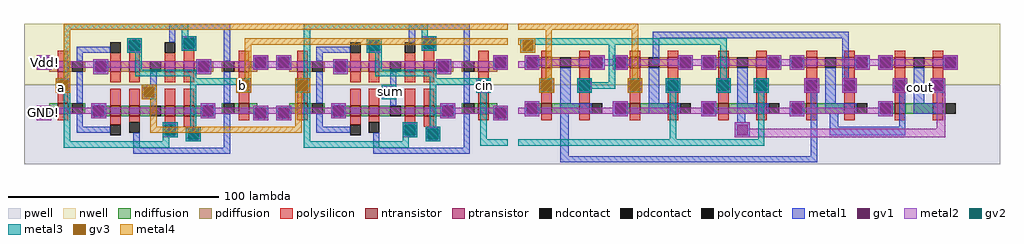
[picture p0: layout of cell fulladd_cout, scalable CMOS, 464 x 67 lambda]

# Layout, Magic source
magic
tech scmos
<< nwell >>
rect 232 54 461 65
rect 232 51 240 54
rect 232 38 235 51
rect 268 36 461 54
<< pwell >>
rect 267 25 368 36
rect 380 25 384 26
rect 400 25 461 36
rect 267 22 461 25
rect 234 21 461 22
rect 226 3 227 21
rect 232 3 461 21
rect 226 -2 461 3
<< metal1 >>
rect 296 58 389 61
rect 296 46 299 58
rect 252 22 257 29
rect 252 2 256 22
rect 336 18 340 26
rect 335 11 342 18
rect 371 2 374 37
rect 386 36 389 58
rect 380 16 384 26
rect 413 16 416 35
rect 421 32 425 37
rect 380 12 416 16
rect 252 -1 374 2
<< metal2 >>
rect 4 44 10 49
rect 102 44 126 47
rect 220 44 227 47
rect 232 44 235 47
rect 263 45 288 48
rect 304 45 329 48
rect 348 45 371 48
rect 389 45 412 48
rect 169 30 173 35
rect 242 32 249 39
rect 284 32 291 39
rect 326 32 333 39
rect 344 32 351 39
rect 4 20 9 25
rect 105 22 129 25
rect 220 22 227 25
rect 232 22 409 25
rect 335 15 342 18
rect 431 15 435 37
rect 335 11 435 15
<< gv1 >>
rect 336 12 341 17
<< metal3 >>
rect 233 55 331 58
rect 233 51 240 55
rect 13 33 18 38
rect 53 29 60 36
rect 99 33 104 38
rect 126 32 133 39
rect 213 33 218 38
rect 214 10 217 33
rect 242 32 249 39
rect 260 37 267 39
rect 275 37 278 55
rect 328 39 331 55
rect 260 34 278 37
rect 260 32 267 34
rect 284 32 291 39
rect 302 32 309 39
rect 326 32 333 39
rect 344 32 351 39
rect 304 10 307 32
rect 346 10 349 32
rect 214 7 227 10
rect 232 7 349 10
<< gv2 >>
rect 54 30 59 35
rect 127 33 132 38
rect 243 33 248 38
rect 261 33 266 38
rect 285 33 290 38
rect 303 33 308 38
rect 327 33 332 38
rect 345 33 350 38
<< metal4 >>
rect 16 62 227 65
rect 232 62 289 65
rect 16 39 19 62
rect 102 55 227 58
rect 232 55 240 58
rect 102 39 105 55
rect 233 51 240 55
rect 245 39 248 62
rect 286 39 289 62
rect 12 32 19 39
rect 53 29 60 36
rect 98 32 105 39
rect 126 32 133 39
rect 242 32 249 39
rect 284 32 291 39
rect 57 16 60 29
rect 126 16 129 32
rect 57 13 129 16
<< gv3 >>
rect 234 52 239 57
rect 13 33 18 38
rect 54 30 59 35
rect 99 33 104 38
rect 127 33 132 38
rect 243 33 248 38
rect 285 33 290 38
use nand2  nand2_4
transform 1 0 416 0 1 38
box -19 -22 28 16
use nand2  nand2_3
transform 1 0 374 0 1 38
box -19 -22 28 16
use nand2  nand2_2
transform 1 0 332 0 1 38
box -19 -22 28 16
use nand2  nand2_1
transform 1 0 290 0 1 38
box -19 -22 28 16
use nand2  nand2_0
transform 1 0 248 0 1 38
box -19 -22 28 16
use xor2  xor2_0
transform 1 0 38 0 1 42
box -41 -44 81 23
use xor2  xor2_1
transform 1 0 152 0 1 42
box -41 -44 81 23
<< labels >>
rlabel metal3 14 33 16 36 1 a
rlabel metal3 215 34 217 37 1 cin
rlabel metal2 4 44 10 49 1 Vdd!
rlabel metal2 4 20 9 25 1 GND!
rlabel metal3 100 34 102 37 1 b
rlabel metal1 421 32 425 37 1 cout
rlabel metal2 170 31 172 34 1 sum
<< end >>

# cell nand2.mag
magic
tech scmos
<< nwell >>
rect -20 -2 28 16
<< pwell >>
rect -20 -22 30 -2
<< ntransistor >>
rect -5 -16 0 -11
rect 13 -16 18 -11
<< ptransistor >>
rect -5 6 0 11
rect 13 6 18 11
<< ndiffusion >>
rect -7 -16 -5 -11
rect 0 -16 13 -11
rect 18 -16 19 -11
<< pdiffusion >>
rect -7 6 -5 11
rect 0 6 4 11
rect 9 6 13 11
rect 18 6 19 11
<< ndcontact >>
rect -12 -16 -7 -11
rect 19 -16 24 -11
<< pdcontact >>
rect -12 6 -7 11
rect 4 6 9 11
rect 19 6 24 11
<< polysilicon >>
rect -5 11 0 14
rect 13 11 18 14
rect -5 0 0 6
rect -5 -11 0 -5
rect 13 0 18 6
rect 13 -11 18 -5
rect -5 -19 0 -16
rect 13 -19 18 -16
<< polycontact >>
rect -5 -5 0 0
rect 13 -5 18 0
<< metal1 >>
rect -13 11 -6 12
rect 18 11 25 12
rect -13 6 -12 11
rect -7 6 -6 11
rect -13 5 -6 6
rect -6 0 1 1
rect -6 -5 -5 0
rect 0 -5 1 0
rect -6 -6 1 -5
rect -13 -11 -6 -10
rect -13 -16 -12 -11
rect -7 -16 -6 -11
rect 4 -11 9 6
rect 18 6 19 11
rect 24 6 25 11
rect 18 5 25 6
rect 12 0 19 1
rect 12 -5 13 0
rect 18 -5 19 0
rect 12 -6 19 -5
rect 4 -16 19 -11
rect -13 -17 -6 -16
<< metal2 >>
rect -13 10 -6 12
rect 18 10 25 12
rect -13 7 25 10
rect -13 5 -6 7
rect 18 5 25 7
rect -6 -6 1 1
rect 12 -6 19 1
rect -13 -17 -6 -10
<< gv1 >>
rect -12 6 -7 11
rect 19 6 24 11
rect -5 -5 0 0
rect 13 -5 18 0
rect -12 -16 -7 -11
<< labels >>
rlabel pdcontact -10 8 -9 9 1 Vdd!
rlabel polycontact -3 -3 -2 -2 1 a
rlabel gv1 -11 -14 -9 -13 1 GND!
rlabel metal1 6 -3 7 -2 1 out
rlabel polycontact 15 -3 16 -2 1 b
<< end >>

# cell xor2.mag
magic
tech scmos
<< nwell >>
rect -41 -6 81 23
<< pwell >>
rect -41 -42 81 -6
rect -41 -44 76 -42
<< ntransistor >>
rect -25 -20 -20 -15
rect 0 -21 5 -16
rect 9 -21 14 -16
rect 26 -21 31 -16
rect 35 -21 40 -16
rect 61 -20 66 -15
<< ptransistor >>
rect -25 0 -20 5
rect 0 0 5 5
rect 9 0 14 5
rect 26 0 31 5
rect 35 0 40 5
rect 61 0 66 5
<< ndiffusion >>
rect -35 -22 -34 -17
rect -29 -20 -25 -15
rect -20 -20 -18 -15
rect -13 -20 -12 -15
rect -29 -22 -28 -20
rect -9 -21 -8 -16
rect -3 -21 0 -16
rect 5 -21 9 -16
rect 14 -21 19 -16
rect 24 -21 26 -16
rect 31 -21 35 -16
rect 40 -21 44 -16
rect 53 -20 54 -15
rect 59 -20 61 -15
rect 66 -17 70 -15
rect 66 -20 69 -17
rect 68 -22 69 -20
rect 74 -22 75 -17
<< pdiffusion >>
rect -35 2 -34 7
rect -29 5 -28 7
rect 68 5 69 7
rect -29 0 -25 5
rect -20 0 -18 5
rect -13 0 -12 5
rect -8 0 -7 5
rect -2 0 0 5
rect 5 0 9 5
rect 14 0 19 5
rect 24 0 26 5
rect 31 0 35 5
rect 40 0 42 5
rect 47 0 49 5
rect 53 0 54 5
rect 59 0 61 5
rect 66 2 69 5
rect 74 2 75 7
rect 66 0 70 2
<< ndcontact >>
rect -34 -22 -29 -17
rect -18 -20 -13 -15
rect -8 -21 -3 -16
rect 19 -21 24 -16
rect 44 -21 49 -16
rect 54 -20 59 -15
rect 69 -22 74 -17
<< pdcontact >>
rect -34 2 -29 7
rect -18 0 -13 5
rect -7 0 -2 5
rect 19 0 24 5
rect 42 0 47 5
rect 54 0 59 5
rect 69 2 74 7
<< polysilicon >>
rect -25 5 -20 10
rect 0 5 5 9
rect 9 5 14 10
rect 26 5 31 9
rect 35 5 40 11
rect 61 5 66 10
rect -25 -4 -20 0
rect 0 -5 5 0
rect 9 -5 14 0
rect 26 -5 31 0
rect 35 -5 40 0
rect 61 -4 66 0
rect -25 -15 -20 -9
rect 0 -16 5 -8
rect 9 -16 14 -8
rect 26 -16 31 -8
rect 35 -16 40 -8
rect 61 -15 66 -9
rect -25 -23 -20 -20
rect 0 -25 5 -21
rect 9 -24 14 -21
rect 26 -25 31 -21
rect 35 -26 40 -21
rect 61 -23 66 -20
rect 36 -27 42 -26
<< polycontact >>
rect 0 9 5 14
rect 9 10 14 15
rect 26 9 31 14
rect 35 11 40 16
rect -25 -9 -20 -4
rect 61 -9 66 -4
rect 0 -30 5 -25
rect 9 -29 14 -24
rect 26 -30 31 -25
rect 37 -32 42 -27
<< metal1 >>
rect 28 20 57 23
rect 8 15 15 16
rect -16 9 0 12
rect 8 10 9 15
rect 14 10 15 15
rect 28 14 31 20
rect 8 9 15 10
rect 34 16 41 17
rect 34 11 35 16
rect 40 11 41 16
rect 34 10 41 11
rect -35 7 -28 8
rect -35 2 -34 7
rect -29 2 -28 7
rect -16 5 -13 9
rect -35 1 -28 2
rect -26 -4 -19 -3
rect -26 -9 -25 -4
rect -20 -9 -19 -4
rect -26 -10 -19 -9
rect -16 -15 -13 0
rect -8 5 -1 6
rect 41 5 48 6
rect -8 0 -7 5
rect -2 0 -1 5
rect -8 -1 -1 0
rect 41 0 42 5
rect 47 0 48 5
rect 19 -6 22 0
rect 41 -1 48 0
rect 54 5 57 20
rect 68 7 75 8
rect 68 2 69 7
rect 74 2 75 7
rect 68 1 75 2
rect 15 -13 22 -6
rect -35 -17 -28 -16
rect -35 -22 -34 -17
rect -29 -22 -28 -17
rect -35 -23 -28 -22
rect -16 -26 -13 -20
rect -9 -16 -2 -15
rect -9 -21 -8 -16
rect -3 -21 -2 -16
rect 19 -16 22 -13
rect 54 -15 57 0
rect 60 -4 67 -3
rect 60 -9 61 -4
rect 66 -9 67 -4
rect 60 -10 67 -9
rect 43 -16 50 -15
rect 43 -21 44 -16
rect 49 -21 50 -16
rect -9 -22 -2 -21
rect 43 -22 50 -21
rect 68 -17 75 -16
rect -16 -29 0 -26
rect 11 -36 14 -29
rect 25 -25 32 -24
rect 25 -30 26 -25
rect 31 -30 32 -25
rect 25 -31 32 -30
rect 36 -27 43 -26
rect 36 -32 37 -27
rect 42 -32 43 -27
rect 36 -33 43 -32
rect 54 -36 57 -20
rect 68 -22 69 -17
rect 74 -22 75 -17
rect 68 -23 75 -22
rect 11 -39 57 -36
<< metal2 >>
rect 8 9 15 16
rect 34 10 41 17
rect -35 5 -28 8
rect -8 5 -1 6
rect 41 5 48 6
rect 68 5 75 8
rect -35 2 75 5
rect -35 1 -28 2
rect -8 -1 -1 2
rect 41 -1 48 2
rect 68 1 75 2
rect -26 -10 -19 -3
rect 15 -13 22 -6
rect 60 -10 67 -3
rect -35 -17 -28 -16
rect -9 -17 -2 -15
rect 43 -17 50 -15
rect 68 -17 75 -16
rect -35 -20 75 -17
rect -35 -23 -28 -20
rect -9 -22 -2 -20
rect 43 -22 50 -20
rect 68 -23 75 -20
rect 25 -31 32 -24
rect 36 -33 43 -26
<< gv1 >>
rect 9 10 14 15
rect 35 11 40 16
rect -34 2 -29 7
rect -7 0 -2 5
rect 42 0 47 5
rect 69 2 74 7
rect -25 -9 -20 -4
rect 16 -12 21 -7
rect 61 -9 66 -4
rect -34 -22 -29 -17
rect -8 -21 -3 -16
rect 44 -21 49 -16
rect 69 -22 74 -17
rect 26 -30 31 -25
rect 37 -32 42 -27
<< metal3 >>
rect -22 20 37 23
rect -22 -3 -19 20
rect 34 17 37 20
rect 8 9 15 16
rect 34 10 41 17
rect 12 1 15 9
rect 12 -2 41 1
rect -26 -10 -19 -3
rect 38 -3 41 -2
rect 38 -6 67 -3
rect -22 -33 -19 -10
rect 15 -13 22 -6
rect 25 -31 32 -24
rect 38 -26 41 -6
rect 60 -10 67 -6
rect 25 -33 28 -31
rect 36 -33 43 -26
rect -22 -36 28 -33
<< gv2 >>
rect 9 10 14 15
rect 35 11 40 16
rect -25 -9 -20 -4
rect 61 -9 66 -4
rect 26 -30 31 -25
rect 37 -32 42 -27
<< labels >>
rlabel gv2 63 -7 64 -6 1 b
rlabel metal1 20 -9 21 -8 1 out
rlabel gv2 -23 -7 -22 -6 1 a
rlabel gv1 -32 4 -31 5 1 Vdd!
rlabel gv1 -32 -20 -31 -19 1 GND!
<< end >>
